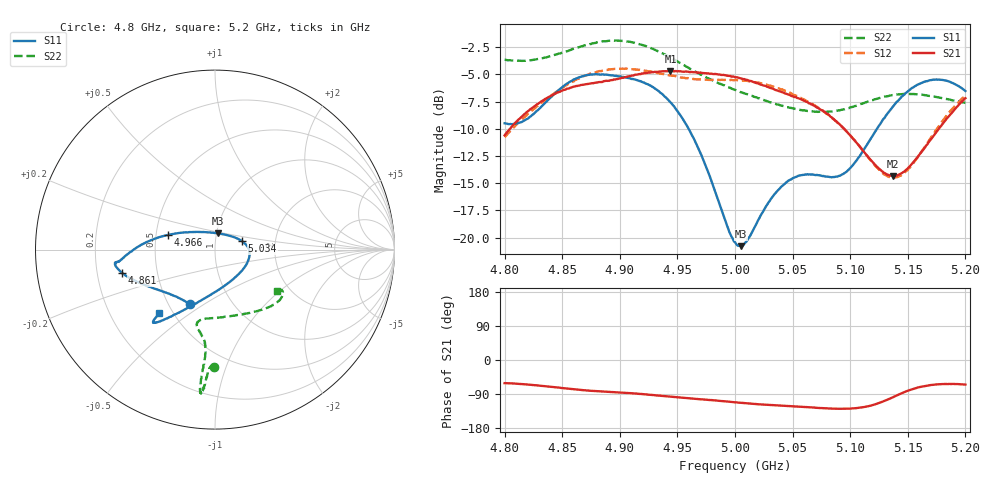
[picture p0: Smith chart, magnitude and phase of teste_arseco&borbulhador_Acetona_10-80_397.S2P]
! Network Analyzer HP8722D
! Hewlett-Packard
! Data name: Linha & Wilkinson
! Saver's name: Rodrigo Anjos
! Comments: Teste da utilização de aquisição
! continua pelo VNA HP8722D
! Time and date: 17/4/2025 17:40
!  Frequency  S11  S21  S12  S22
# HZ  S  MA R 50
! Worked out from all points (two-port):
!   401 points, 4.8 GHz to 5.2 GHz, reference 50 ohm
!   highest |S21| = -4.69 dB at 4.944 GHz (marker M1); lowest = -14.4 dB at 5.137 GHz (marker M2)
!   |S21| within 3 dB of the highest: 4.829 GHz to 5.065 GHz (236 MHz wide, 4.77 % of centre); 5.195098 GHz to end of sweep
!   lowest |S11| = -20.8 dB at 5.005 GHz (marker M3), VSWR 1.20, Z = 50.8 + j9.22 ohm
!   |S11| at or under -10 dB: 4.96 GHz to 5.123 GHz (163.4 MHz wide, 3.24 % of centre)
!   |S22| runs from -8.5 to -1.9 dB; largest |S21 - S12| = 0.87
!   S11 on the Smith chart (normalised r, x): 4.8 GHz: 0.64, -0.44; 4.861 GHz: 0.31, -0.11; 4.966 GHz: 0.58, +0.10; 5.034 GHz: 1.35, +0.13; 5.2 GHz: 0.42, -0.39
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4.8e9  0.3353 -114.2  0.2952 -61.0  0.2897 -175.2  0.6562 -90.3
4.819e9  0.3501 -134.1  0.3767 -64.6  0.364 -174.1  0.652 -92.0
4.861e9  0.5351 -166.0  0.4948 -77.6  0.5289 -177.4  0.7392 -94.1
4.867e9  0.5495 -168.5  0.5031 -79.4  0.5455 -178.4  0.7571 -94.3
4.899e9  0.5509 -172.8  0.5371 -85.7  0.5963 175.0  0.8033 -95.7
4.934e9  0.4698 -178.6  0.5791 -94.0  0.5705 171.4  0.7139 -96.1
4.944e9  0.4182 176.9  0.5829 -96.9  0.556 171.4  0.6725 -95.9
4.966e9  0.2724 162.5  0.5752 -102.4  0.5342 173.5  0.5775 -95.3
5e9  0.09538 98.5  0.5461 -111.7  0.5299 175.8  0.4771 -99.3
5.005e9  0.09143 80.1  0.5393 -112.9  0.526 175.6  0.4656 -100.5
5.012e9  0.09997 56.8  0.5262 -114.7  0.523 175.7  0.4535 -102.0
5.034e9  0.1578 17.5  0.4797 -119.5  0.4919 174.4  0.4136 -103.5
5.049e9  0.1854 2.4  0.4476 -122.0  0.4594 173.7  0.3942 -99.7
5.067e9  0.1951 -16.9  0.4095 -125.4  0.4116 173.3  0.3803 -90.2
5.086e9  0.1898 -47.2  0.3495 -128.4  0.3487 173.3  0.3813 -75.8
5.097e9  0.2013 -69.3  0.307 -128.5  0.3077 174.7  0.3918 -66.8
5.123e9  0.3154 -108.9  0.2124 -115.6  0.2105 -170.2  0.4342 -48.5
5.134e9  0.3817 -117.7  0.1935 -102.3  0.1899 -155.3  0.449 -43.0
5.137e9  0.3994 -119.4  0.1916 -98.4  0.1889 -150.6  0.4521 -41.8
5.15e9  0.4697 -125.2  0.2079 -81.3  0.2053 -130.9  0.4573 -37.0
5.17e9  0.5293 -129.6  0.2825 -66.0  0.2878 -112.3  0.4474 -32.2
5.2e9  0.4718 -131.1  0.4371 -65.0  0.4492 -107.0  0.4159 -33.7
